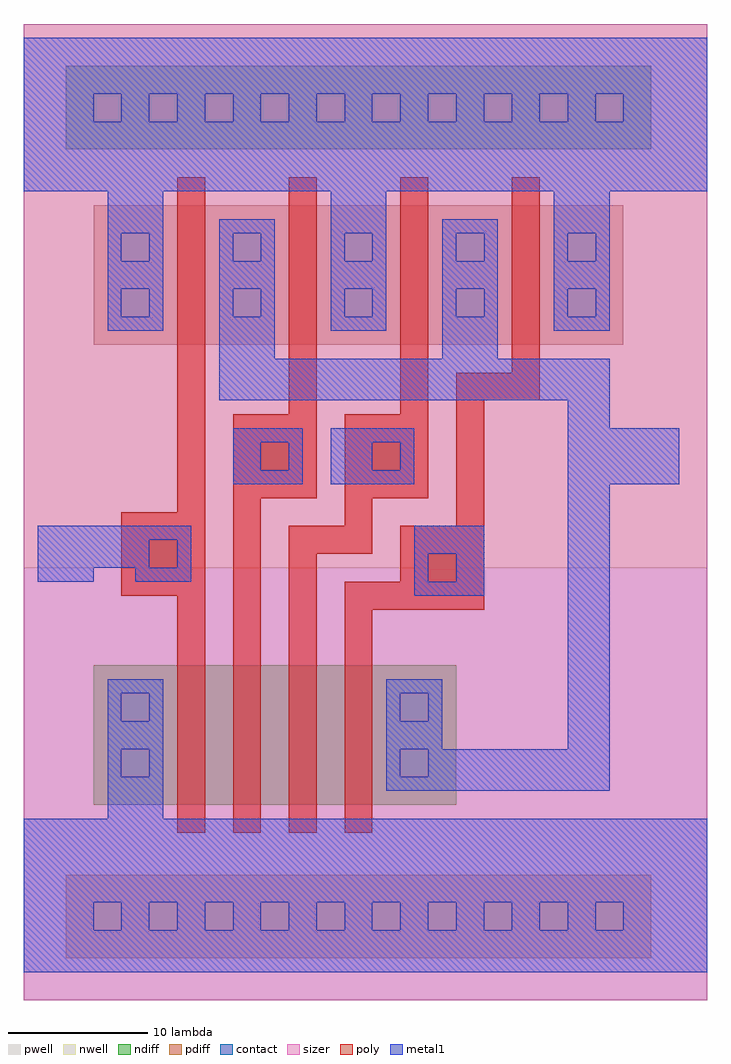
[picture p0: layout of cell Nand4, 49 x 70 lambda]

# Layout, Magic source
magic
tech LibreSilicon-test000-concept-mg-70-7
<< sizer >>
rect 0 0 49 70
<< metal1 >>
rect 0 65 49 69
rect 0 63 5 65
rect 7 63 9 65
rect 11 63 13 65
rect 15 63 17 65
rect 19 63 21 65
rect 23 63 25 65
rect 27 63 29 65
rect 31 63 33 65
rect 35 63 37 65
rect 39 63 41 65
rect 43 63 49 65
rect 0 58 49 63
rect 6 55 10 58
rect 22 55 26 58
rect 38 55 42 58
rect 14 55 18 56
rect 30 55 34 56
rect 6 53 7 55
rect 9 53 10 55
rect 14 53 15 55
rect 17 53 18 55
rect 22 53 23 55
rect 25 53 26 55
rect 30 53 31 55
rect 33 53 34 55
rect 38 53 39 55
rect 41 53 42 55
rect 6 51 10 53
rect 14 51 18 53
rect 22 51 26 53
rect 30 51 34 53
rect 38 51 42 53
rect 6 49 7 51
rect 9 49 10 51
rect 14 49 15 51
rect 17 49 18 51
rect 22 49 23 51
rect 25 49 26 51
rect 30 49 31 51
rect 33 49 34 51
rect 38 49 39 51
rect 41 49 42 51
rect 6 48 10 49
rect 14 46 18 49
rect 22 48 26 49
rect 30 46 34 49
rect 38 48 42 49
rect 14 43 42 46
rect 39 41 42 43
rect 15 40 20 41
rect 22 40 28 41
rect 39 37 47 41
rect 15 38 17 40
rect 19 38 20 40
rect 22 38 25 40
rect 27 38 28 40
rect 15 37 20 38
rect 22 37 28 38
rect 39 18 42 37
rect 1 33 12 34
rect 28 32 33 34
rect 1 31 9 33
rect 11 31 12 33
rect 28 30 29 32
rect 31 30 33 32
rect 1 30 5 31
rect 8 30 12 31
rect 28 29 33 30
rect 6 22 10 23
rect 26 22 30 23
rect 6 20 7 22
rect 9 20 10 22
rect 26 20 27 22
rect 29 20 30 22
rect 6 18 10 20
rect 26 18 30 20
rect 6 16 7 18
rect 9 16 10 18
rect 26 16 27 18
rect 29 16 42 18
rect 6 13 10 16
rect 26 15 42 16
rect 0 7 49 13
rect 0 5 5 7
rect 7 5 9 7
rect 11 5 13 7
rect 15 5 17 7
rect 19 5 21 7
rect 23 5 25 7
rect 27 5 29 7
rect 31 5 33 7
rect 35 5 37 7
rect 39 5 41 7
rect 43 5 49 7
rect 0 2 49 5
<< contact >>
rect 5 63 7 65
rect 9 63 11 65
rect 13 63 15 65
rect 17 63 19 65
rect 21 63 23 65
rect 25 63 27 65
rect 29 63 31 65
rect 33 63 35 65
rect 37 63 39 65
rect 41 63 43 65
rect 7 53 9 55
rect 15 53 17 55
rect 23 53 25 55
rect 31 53 33 55
rect 39 53 41 55
rect 7 49 9 51
rect 15 49 17 51
rect 23 49 25 51
rect 31 49 33 51
rect 39 49 41 51
rect 17 38 19 40
rect 25 38 27 40
rect 9 31 11 33
rect 29 30 31 32
rect 7 20 9 22
rect 27 20 29 22
rect 7 16 9 18
rect 27 16 29 18
rect 5 5 7 7
rect 9 5 11 7
rect 13 5 15 7
rect 17 5 19 7
rect 21 5 23 7
rect 25 5 27 7
rect 29 5 31 7
rect 33 5 35 7
rect 37 5 39 7
rect 41 5 43 7
<< poly >>
rect 11 35 13 59
rect 19 42 21 59
rect 27 42 29 59
rect 35 45 37 59
rect 31 43 37 45
rect 31 34 33 43
rect 15 36 21 42
rect 23 36 29 42
rect 15 12 17 36
rect 23 34 25 36
rect 7 29 13 35
rect 19 32 25 34
rect 27 30 33 34
rect 19 12 21 32
rect 23 28 33 30
rect 11 12 13 29
rect 23 12 25 28
<< ndiff >>
rect 3 61 45 67
rect 5 14 31 24
<< pdiff >>
rect 5 47 43 57
rect 3 3 45 9
<< nwell >>
rect 0 31 49 70
<< pwell >>
rect 0 0 49 31
<< end >>
